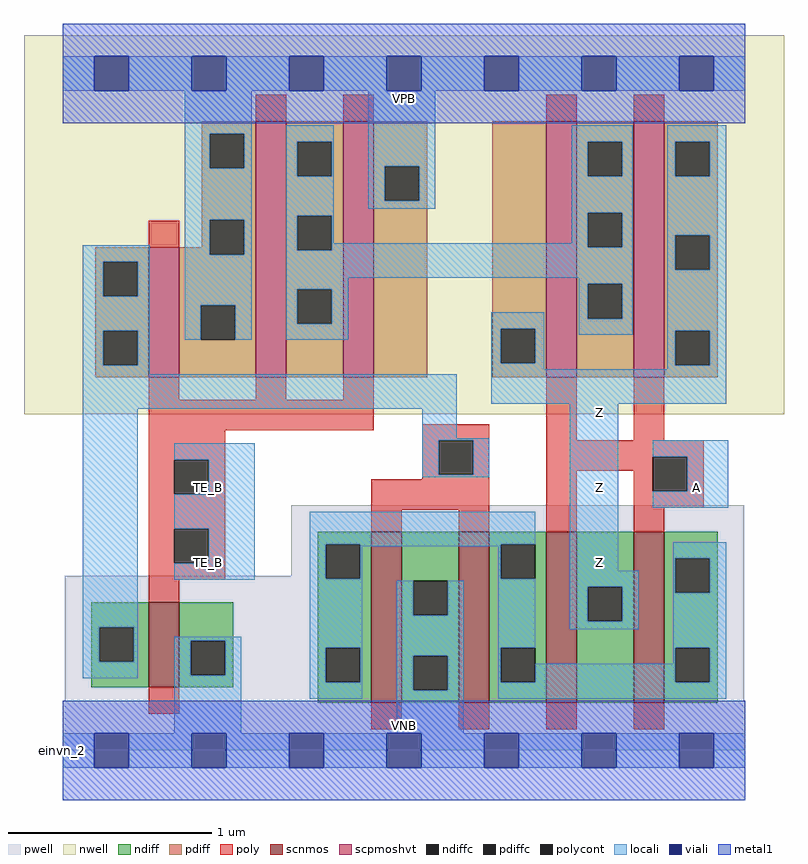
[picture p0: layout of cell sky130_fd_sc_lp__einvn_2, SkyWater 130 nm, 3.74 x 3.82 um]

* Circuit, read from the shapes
.subckt sky130_fd_sc_lp__einvn_2 A TE_B VGND VNB VPB VPWR Z
XM1 VGND TE_B n1 VNB sky130_fd_pr__nfet_01v8 w=0.42 l=0.15
XM2 VGND n1 n2 VNB sky130_fd_pr__nfet_01v8 w=0.84 l=0.15 m=2
XM3 Z A n2 VNB sky130_fd_pr__nfet_01v8 w=0.84 l=0.15 m=2
XM4 VPWR TE_B n1 VPB sky130_fd_pr__pfet_01v8_hvt w=0.64 l=0.15
XM5 n3 TE_B VPWR VPB sky130_fd_pr__pfet_01v8_hvt w=1.26 l=0.15 m=2
XM6 n3 A Z VPB sky130_fd_pr__pfet_01v8_hvt w=1.26 l=0.15 m=2
.ends

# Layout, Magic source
magic
tech sky130A
magscale 1 2
<< nwell >>
rect -38 331 710 704
<< pwell >>
rect 225 172 671 241
rect 2 49 671 172
rect 0 0 672 49
<< scnmos >>
rect 85 62 115 146
rect 304 47 334 215
rect 390 47 420 215
rect 476 47 506 215
rect 562 47 592 215
<< scpmoshvt >>
rect 85 367 115 495
rect 190 367 220 619
rect 276 367 306 619
rect 476 367 506 619
rect 562 367 592 619
<< ndiff >>
rect 251 203 304 215
rect 251 169 259 203
rect 293 169 304 203
rect 28 121 85 146
rect 28 87 36 121
rect 70 87 85 121
rect 28 62 85 87
rect 115 108 168 146
rect 115 74 126 108
rect 160 74 168 108
rect 115 62 168 74
rect 251 101 304 169
rect 251 67 259 101
rect 293 67 304 101
rect 251 47 304 67
rect 334 167 390 215
rect 334 133 345 167
rect 379 133 390 167
rect 334 93 390 133
rect 334 59 345 93
rect 379 59 390 93
rect 334 47 390 59
rect 420 203 476 215
rect 420 169 431 203
rect 465 169 476 203
rect 420 101 476 169
rect 420 67 431 101
rect 465 67 476 101
rect 420 47 476 67
rect 506 161 562 215
rect 506 127 517 161
rect 551 127 562 161
rect 506 47 562 127
rect 592 189 645 215
rect 592 155 603 189
rect 637 155 645 189
rect 592 101 645 155
rect 592 67 603 101
rect 637 67 645 101
rect 592 47 645 67
<< pdiff >>
rect 137 607 190 619
rect 137 573 145 607
rect 179 573 190 607
rect 137 522 190 573
rect 137 495 145 522
rect 32 481 85 495
rect 32 447 40 481
rect 74 447 85 481
rect 32 413 85 447
rect 32 379 40 413
rect 74 379 85 413
rect 32 367 85 379
rect 115 488 145 495
rect 179 488 190 522
rect 115 438 190 488
rect 115 404 136 438
rect 170 404 190 438
rect 115 367 190 404
rect 220 599 276 619
rect 220 565 231 599
rect 265 565 276 599
rect 220 526 276 565
rect 220 492 231 526
rect 265 492 276 526
rect 220 454 276 492
rect 220 420 231 454
rect 265 420 276 454
rect 220 367 276 420
rect 306 575 359 619
rect 306 541 317 575
rect 351 541 359 575
rect 306 367 359 541
rect 423 415 476 619
rect 423 381 431 415
rect 465 381 476 415
rect 423 367 476 381
rect 506 599 562 619
rect 506 565 517 599
rect 551 565 562 599
rect 506 529 562 565
rect 506 495 517 529
rect 551 495 562 529
rect 506 459 562 495
rect 506 425 517 459
rect 551 425 562 459
rect 506 367 562 425
rect 592 599 645 619
rect 592 565 603 599
rect 637 565 645 599
rect 592 507 645 565
rect 592 473 603 507
rect 637 473 645 507
rect 592 413 645 473
rect 592 379 603 413
rect 637 379 645 413
rect 592 367 645 379
<< ndiffc >>
rect 259 169 293 203
rect 36 87 70 121
rect 126 74 160 108
rect 259 67 293 101
rect 345 133 379 167
rect 345 59 379 93
rect 431 169 465 203
rect 431 67 465 101
rect 517 127 551 161
rect 603 155 637 189
rect 603 67 637 101
<< pdiffc >>
rect 145 573 179 607
rect 40 447 74 481
rect 40 379 74 413
rect 145 488 179 522
rect 136 404 170 438
rect 231 565 265 599
rect 231 492 265 526
rect 231 420 265 454
rect 317 541 351 575
rect 431 381 465 415
rect 517 565 551 599
rect 517 495 551 529
rect 517 425 551 459
rect 603 565 637 599
rect 603 473 637 507
rect 603 379 637 413
<< poly >>
rect 190 619 220 645
rect 276 619 306 645
rect 476 619 506 645
rect 562 619 592 645
rect 85 495 115 521
rect 85 345 115 367
rect 190 345 220 367
rect 276 345 306 367
rect 85 315 306 345
rect 85 286 160 315
rect 85 252 110 286
rect 144 252 160 286
rect 354 305 420 321
rect 354 271 370 305
rect 404 271 420 305
rect 354 267 420 271
rect 85 218 160 252
rect 85 184 110 218
rect 144 184 160 218
rect 304 237 420 267
rect 304 215 334 237
rect 390 215 420 237
rect 476 305 506 367
rect 562 305 592 367
rect 476 289 631 305
rect 476 275 581 289
rect 476 215 506 275
rect 562 255 581 275
rect 615 255 631 289
rect 562 239 631 255
rect 562 215 592 239
rect 85 168 160 184
rect 85 146 115 168
rect 85 36 115 62
rect 304 21 334 47
rect 390 21 420 47
rect 476 21 506 47
rect 562 21 592 47
<< polycont >>
rect 110 252 144 286
rect 370 271 404 305
rect 110 184 144 218
rect 581 255 615 289
<< locali >>
rect 0 649 31 683
rect 65 649 127 683
rect 161 649 223 683
rect 257 649 319 683
rect 353 649 415 683
rect 449 649 511 683
rect 545 649 607 683
rect 641 649 672 683
rect 120 607 186 649
rect 120 573 145 607
rect 179 573 186 607
rect 120 522 186 573
rect 20 481 86 497
rect 20 447 40 481
rect 74 447 86 481
rect 20 413 86 447
rect 20 379 40 413
rect 74 379 86 413
rect 120 488 145 522
rect 179 488 186 522
rect 120 438 186 488
rect 120 404 136 438
rect 170 404 186 438
rect 220 599 267 615
rect 220 565 231 599
rect 265 565 267 599
rect 220 526 267 565
rect 301 575 367 649
rect 301 541 317 575
rect 351 541 367 575
rect 301 533 367 541
rect 501 599 561 615
rect 501 565 517 599
rect 551 565 561 599
rect 220 492 231 526
rect 265 499 267 526
rect 501 529 561 565
rect 501 499 517 529
rect 265 495 517 499
rect 551 495 561 529
rect 265 492 561 495
rect 220 465 561 492
rect 220 454 281 465
rect 220 420 231 454
rect 265 420 281 454
rect 508 459 561 465
rect 220 404 281 420
rect 422 415 474 431
rect 20 370 86 379
rect 422 381 431 415
rect 465 381 474 415
rect 508 425 517 459
rect 551 425 561 459
rect 508 409 561 425
rect 595 599 653 615
rect 595 565 603 599
rect 637 565 653 599
rect 595 507 653 565
rect 595 473 603 507
rect 637 473 653 507
rect 595 413 653 473
rect 422 375 474 381
rect 595 379 603 413
rect 637 379 653 413
rect 595 375 653 379
rect 20 336 388 370
rect 422 341 653 375
rect 20 121 74 336
rect 354 307 388 336
rect 354 305 420 307
rect 110 286 189 302
rect 144 252 189 286
rect 354 271 370 305
rect 404 271 420 305
rect 354 269 420 271
rect 110 218 189 252
rect 144 184 189 218
rect 110 168 189 184
rect 243 203 465 235
rect 243 169 259 203
rect 293 201 431 203
rect 293 169 295 201
rect 20 87 36 121
rect 70 87 74 121
rect 20 71 74 87
rect 110 108 176 112
rect 110 74 126 108
rect 160 74 176 108
rect 110 17 176 74
rect 243 101 295 169
rect 429 169 431 201
rect 243 67 259 101
rect 293 67 295 101
rect 243 51 295 67
rect 329 133 345 167
rect 379 133 395 167
rect 329 93 395 133
rect 329 59 345 93
rect 379 59 395 93
rect 329 17 395 59
rect 429 101 465 169
rect 499 177 547 341
rect 581 289 655 305
rect 615 255 655 289
rect 581 239 655 255
rect 601 189 653 205
rect 499 161 567 177
rect 499 127 517 161
rect 551 127 567 161
rect 499 119 567 127
rect 601 155 603 189
rect 637 155 653 189
rect 429 67 431 101
rect 601 101 653 155
rect 601 85 603 101
rect 465 67 603 85
rect 637 67 653 101
rect 429 51 653 67
rect 0 -17 31 17
rect 65 -17 127 17
rect 161 -17 223 17
rect 257 -17 319 17
rect 353 -17 415 17
rect 449 -17 511 17
rect 545 -17 607 17
rect 641 -17 672 17
<< viali >>
rect 31 649 65 683
rect 127 649 161 683
rect 223 649 257 683
rect 319 649 353 683
rect 415 649 449 683
rect 511 649 545 683
rect 607 649 641 683
rect 31 -17 65 17
rect 127 -17 161 17
rect 223 -17 257 17
rect 319 -17 353 17
rect 415 -17 449 17
rect 511 -17 545 17
rect 607 -17 641 17
<< metal1 >>
rect 0 683 672 715
rect 0 649 31 683
rect 65 649 127 683
rect 161 649 223 683
rect 257 649 319 683
rect 353 649 415 683
rect 449 649 511 683
rect 545 649 607 683
rect 641 649 672 683
rect 0 617 672 649
rect 0 17 672 49
rect 0 -17 31 17
rect 65 -17 127 17
rect 161 -17 223 17
rect 257 -17 319 17
rect 353 -17 415 17
rect 449 -17 511 17
rect 545 -17 607 17
rect 641 -17 672 17
rect 0 -49 672 -17
<< labels >>
flabel pwell s 0 0 672 49 0 FreeSans 200 0 0 0 VNB
port 4 nsew ground bidirectional
flabel nwell s 0 617 672 666 0 FreeSans 200 0 0 0 VPB
port 5 nsew power bidirectional
rlabel comment s 0 0 0 0 4 einvn_2
flabel metal1 s 0 617 672 666 0 FreeSans 340 0 0 0 VPWR
port 6 nsew power bidirectional
flabel metal1 s 0 0 672 49 0 FreeSans 340 0 0 0 VGND
port 3 nsew ground bidirectional
flabel locali s 127 168 161 202 0 FreeSans 340 0 0 0 TE_B
port 2 nsew signal input
flabel locali s 127 242 161 276 0 FreeSans 340 0 0 0 TE_B
port 2 nsew signal input
flabel locali s 511 168 545 202 0 FreeSans 340 0 0 0 Z
port 7 nsew signal output
flabel locali s 511 242 545 276 0 FreeSans 340 0 0 0 Z
port 7 nsew signal output
flabel locali s 511 316 545 350 0 FreeSans 340 0 0 0 Z
port 7 nsew signal output
flabel locali s 607 242 641 276 0 FreeSans 340 0 0 0 A
port 1 nsew signal input
<< properties >>
string LEFsite unit
string LEFclass CORE
string FIXED_BBOX 0 0 672 666
string GDS_FILE $PDKPATH/libs.ref/sky130_fd_sc_lp/gds/sky130_fd_sc_lp.gds
string LEFsymmetry X Y R90
string GDS_END 4208680
string GDS_START 4202210
<< end >>
